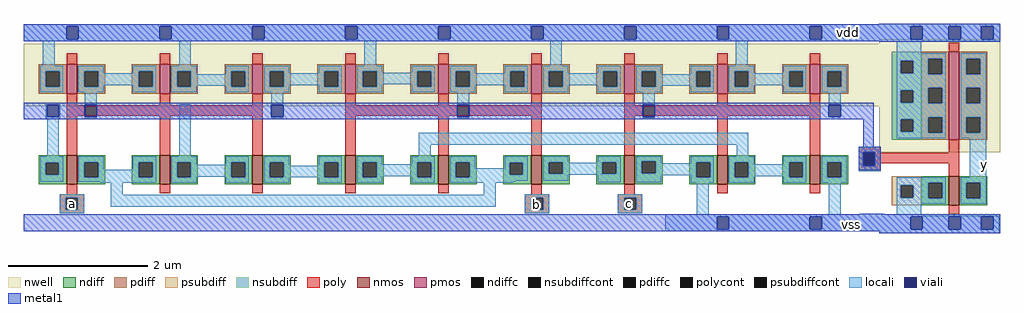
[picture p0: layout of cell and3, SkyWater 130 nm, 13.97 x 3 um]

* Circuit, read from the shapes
.subckt and3 a b c y vdd vss
XM1 n1 a inverter_0/a vss sky130_fd_pr__nfet_01v8 w=0.42 l=0.15
XM2 n2 a n1 vss sky130_fd_pr__nfet_01v8 w=0.42 l=0.15
XM3 n3 a n2 vss sky130_fd_pr__nfet_01v8 w=0.42 l=0.15
XM4 n4 b n3 vss sky130_fd_pr__nfet_01v8 w=0.42 l=0.15
XM5 n1 b n4 vss sky130_fd_pr__nfet_01v8 w=0.42 l=0.15
XM6 n5 b n1 vss sky130_fd_pr__nfet_01v8 w=0.42 l=0.15
XM7 vss c n5 vss sky130_fd_pr__nfet_01v8 w=0.42 l=0.15
XM8 n4 c vss vss sky130_fd_pr__nfet_01v8 w=0.42 l=0.15 m=2
XM9 y inverter_0/a vss vss sky130_fd_pr__nfet_01v8 w=0.42 l=0.15
XM10 inverter_0/a a vdd vdd sky130_fd_pr__pfet_01v8 w=0.42 l=0.15 m=3
XM11 vdd b inverter_0/a vdd sky130_fd_pr__pfet_01v8 w=0.42 l=0.15 m=3
XM12 inverter_0/a c vdd vdd sky130_fd_pr__pfet_01v8 w=0.42 l=0.15 m=3
XM13 y inverter_0/a vdd vdd sky130_fd_pr__pfet_01v8 w=1.26 l=0.15
.ends

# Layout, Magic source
magic
tech sky130A
<< nwell >>
rect -1075 137 157 226
<< nmos >>
rect -1014 25 -999 67
rect -881 25 -866 67
rect -748 25 -733 67
rect -615 25 -600 67
rect -482 25 -467 67
rect -349 25 -334 67
rect -216 25 -201 67
rect -83 25 -68 67
rect 50 25 65 67
<< pmos >>
rect -1014 155 -999 197
rect -881 155 -866 197
rect -748 155 -733 197
rect -615 155 -600 197
rect -482 155 -467 197
rect -349 155 -334 197
rect -216 155 -201 197
rect -83 155 -68 197
rect 50 155 65 197
<< ndiff >>
rect -1054 56 -1014 67
rect -1054 39 -1044 56
rect -1025 39 -1014 56
rect -1054 25 -1014 39
rect -999 57 -959 67
rect -999 35 -989 57
rect -969 35 -959 57
rect -999 25 -959 35
rect -921 57 -881 67
rect -921 35 -911 57
rect -891 35 -881 57
rect -921 25 -881 35
rect -866 57 -826 67
rect -866 35 -856 57
rect -836 35 -826 57
rect -866 25 -826 35
rect -788 57 -748 67
rect -788 35 -778 57
rect -758 35 -748 57
rect -788 25 -748 35
rect -733 57 -693 67
rect -733 35 -723 57
rect -703 35 -693 57
rect -733 25 -693 35
rect -655 57 -615 67
rect -655 35 -645 57
rect -625 35 -615 57
rect -655 25 -615 35
rect -600 57 -560 67
rect -600 35 -590 57
rect -570 35 -560 57
rect -600 25 -560 35
rect -522 57 -482 67
rect -522 35 -512 57
rect -492 35 -482 57
rect -522 25 -482 35
rect -467 57 -427 67
rect -467 35 -457 57
rect -437 35 -427 57
rect -467 25 -427 35
rect -389 56 -349 67
rect -389 39 -380 56
rect -361 39 -349 56
rect -389 25 -349 39
rect -334 57 -294 67
rect -334 40 -324 57
rect -304 40 -294 57
rect -334 25 -294 40
rect -256 57 -216 67
rect -256 40 -247 57
rect -227 40 -216 57
rect -256 25 -216 40
rect -201 58 -161 67
rect -201 41 -191 58
rect -171 41 -161 58
rect -201 25 -161 41
rect -123 57 -83 67
rect -123 35 -113 57
rect -93 35 -83 57
rect -123 25 -83 35
rect -68 57 -28 67
rect -68 35 -58 57
rect -38 35 -28 57
rect -68 25 -28 35
rect 10 57 50 67
rect 10 35 20 57
rect 40 35 50 57
rect 10 25 50 35
rect 65 57 105 67
rect 65 35 75 57
rect 95 35 105 57
rect 65 25 105 35
<< pdiff >>
rect -1054 187 -1014 197
rect -1054 165 -1044 187
rect -1024 165 -1014 187
rect -1054 155 -1014 165
rect -999 187 -959 197
rect -999 165 -989 187
rect -969 165 -959 187
rect -999 155 -959 165
rect -921 187 -881 197
rect -921 165 -911 187
rect -891 165 -881 187
rect -921 155 -881 165
rect -866 187 -826 197
rect -866 165 -856 187
rect -836 165 -826 187
rect -866 155 -826 165
rect -788 187 -748 197
rect -788 165 -778 187
rect -758 165 -748 187
rect -788 155 -748 165
rect -733 187 -693 197
rect -733 165 -723 187
rect -703 165 -693 187
rect -733 155 -693 165
rect -655 187 -615 197
rect -655 165 -645 187
rect -625 165 -615 187
rect -655 155 -615 165
rect -600 187 -560 197
rect -600 165 -590 187
rect -570 165 -560 187
rect -600 155 -560 165
rect -522 187 -482 197
rect -522 165 -512 187
rect -492 165 -482 187
rect -522 155 -482 165
rect -467 187 -427 197
rect -467 165 -457 187
rect -437 165 -427 187
rect -467 155 -427 165
rect -389 187 -349 197
rect -389 165 -379 187
rect -359 165 -349 187
rect -389 155 -349 165
rect -334 187 -294 197
rect -334 165 -324 187
rect -304 165 -294 187
rect -334 155 -294 165
rect -256 187 -216 197
rect -256 165 -246 187
rect -226 165 -216 187
rect -256 155 -216 165
rect -201 187 -161 197
rect -201 165 -191 187
rect -171 165 -161 187
rect -201 155 -161 165
rect -123 187 -83 197
rect -123 165 -113 187
rect -93 165 -83 187
rect -123 155 -83 165
rect -68 187 -28 197
rect -68 165 -58 187
rect -38 165 -28 187
rect -68 155 -28 165
rect 10 187 50 197
rect 10 165 20 187
rect 40 165 50 187
rect 10 155 50 165
rect 65 187 105 197
rect 65 165 75 187
rect 95 165 105 187
rect 65 155 105 165
<< ndiffc >>
rect -1044 39 -1025 56
rect -989 35 -969 57
rect -911 35 -891 57
rect -856 35 -836 57
rect -778 35 -758 57
rect -723 35 -703 57
rect -645 35 -625 57
rect -590 35 -570 57
rect -512 35 -492 57
rect -457 35 -437 57
rect -380 39 -361 56
rect -324 40 -304 57
rect -247 40 -227 57
rect -191 41 -171 58
rect -113 35 -93 57
rect -58 35 -38 57
rect 20 35 40 57
rect 75 35 95 57
<< pdiffc >>
rect -1044 165 -1024 187
rect -989 165 -969 187
rect -911 165 -891 187
rect -856 165 -836 187
rect -778 165 -758 187
rect -723 165 -703 187
rect -645 165 -625 187
rect -590 165 -570 187
rect -512 165 -492 187
rect -457 165 -437 187
rect -379 165 -359 187
rect -324 165 -304 187
rect -246 165 -226 187
rect -191 165 -171 187
rect -113 165 -93 187
rect -58 165 -38 187
rect 20 165 40 187
rect 75 165 95 187
<< poly >>
rect -1014 197 -999 213
rect -881 197 -866 213
rect -748 197 -733 213
rect -615 197 -600 213
rect -482 197 -467 213
rect -349 197 -334 213
rect -216 197 -201 213
rect -83 197 -68 213
rect 50 197 65 213
rect -1014 138 -999 155
rect -881 138 -866 155
rect -748 138 -733 155
rect -1014 123 -733 138
rect -1014 67 -999 123
rect -881 67 -866 123
rect -748 67 -733 123
rect -615 138 -600 155
rect -482 138 -467 155
rect -349 138 -334 155
rect -615 123 -334 138
rect -615 67 -600 123
rect -482 67 -467 123
rect -349 67 -334 123
rect -216 138 -201 155
rect -83 138 -68 155
rect 50 138 65 155
rect -216 123 65 138
rect -216 67 -201 123
rect -83 67 -68 123
rect 50 67 65 123
rect -1014 11 -999 25
rect -881 12 -866 25
rect -748 12 -733 25
rect -615 12 -600 25
rect -482 12 -467 25
rect -349 11 -334 25
rect -216 11 -201 25
rect -83 12 -68 25
rect 50 12 65 25
rect -1024 6 -989 11
rect -1024 -11 -1015 6
rect -998 -11 -989 6
rect -1024 -16 -989 -11
rect -358 6 -323 11
rect -358 -11 -349 6
rect -332 -11 -323 6
rect -358 -16 -323 -11
rect -225 6 -190 11
rect -225 -11 -216 6
rect -199 -11 -190 6
rect -225 -16 -190 -11
<< polycont >>
rect -1015 -11 -998 6
rect -349 -11 -332 6
rect -216 -11 -199 6
<< locali >>
rect -1075 251 151 254
rect -1075 233 -1014 251
rect -997 233 -881 251
rect -864 233 -748 251
rect -731 233 -615 251
rect -598 233 -482 251
rect -465 233 -349 251
rect -332 233 -216 251
rect -199 233 -83 251
rect -66 233 50 251
rect 67 233 151 251
rect -1075 230 151 233
rect -1048 195 -1031 230
rect -853 195 -836 230
rect -588 195 -571 230
rect -322 195 -305 230
rect -56 195 -39 230
rect -1052 187 -1019 195
rect -1052 165 -1044 187
rect -1024 165 -1019 187
rect -1052 157 -1019 165
rect -997 187 -961 195
rect -997 165 -989 187
rect -969 184 -961 187
rect -919 187 -886 195
rect -919 184 -911 187
rect -969 167 -911 184
rect -969 165 -961 167
rect -997 157 -961 165
rect -919 165 -911 167
rect -891 165 -886 187
rect -919 157 -886 165
rect -864 187 -828 195
rect -864 165 -856 187
rect -836 183 -828 187
rect -786 187 -753 195
rect -786 183 -778 187
rect -836 166 -778 183
rect -836 165 -828 166
rect -864 157 -828 165
rect -786 165 -778 166
rect -758 165 -753 187
rect -786 157 -753 165
rect -731 187 -695 195
rect -731 165 -723 187
rect -703 184 -695 187
rect -653 187 -620 195
rect -653 184 -645 187
rect -703 167 -645 184
rect -703 165 -695 167
rect -731 157 -695 165
rect -653 165 -645 167
rect -625 165 -620 187
rect -653 157 -620 165
rect -598 187 -562 195
rect -598 165 -590 187
rect -570 185 -562 187
rect -520 187 -487 195
rect -520 185 -512 187
rect -570 168 -512 185
rect -570 165 -562 168
rect -598 157 -562 165
rect -520 165 -512 168
rect -492 165 -487 187
rect -520 157 -487 165
rect -465 187 -429 195
rect -465 165 -457 187
rect -437 184 -429 187
rect -387 187 -354 195
rect -387 184 -379 187
rect -437 167 -379 184
rect -437 165 -429 167
rect -465 157 -429 165
rect -387 165 -379 167
rect -359 165 -354 187
rect -387 157 -354 165
rect -332 187 -296 195
rect -332 165 -324 187
rect -304 184 -296 187
rect -254 187 -221 195
rect -254 184 -246 187
rect -304 167 -246 184
rect -304 165 -296 167
rect -332 157 -296 165
rect -254 165 -246 167
rect -226 165 -221 187
rect -254 157 -221 165
rect -199 187 -163 195
rect -199 165 -191 187
rect -171 183 -163 187
rect -121 187 -88 195
rect -121 183 -113 187
rect -171 166 -113 183
rect -171 165 -163 166
rect -199 157 -163 165
rect -121 165 -113 166
rect -93 165 -88 187
rect -121 157 -88 165
rect -66 187 -30 195
rect -66 165 -58 187
rect -38 184 -30 187
rect 12 187 45 195
rect 12 184 20 187
rect -38 167 20 184
rect -38 165 -30 167
rect -66 157 -30 165
rect 12 165 20 167
rect 40 165 45 187
rect 12 157 45 165
rect 67 187 103 195
rect 67 165 75 187
rect 95 165 103 187
rect 67 157 103 165
rect -1044 139 -1023 140
rect -1044 122 -1042 139
rect -1025 122 -1023 139
rect -1044 120 -1023 122
rect -988 139 -971 157
rect -1042 65 -1025 120
rect -988 119 -971 122
rect -853 65 -836 140
rect -721 139 -704 157
rect -721 119 -704 122
rect -455 139 -438 157
rect -455 119 -438 122
rect -189 139 -172 157
rect -189 120 -172 122
rect 77 139 94 157
rect 77 121 94 122
rect -510 82 -38 99
rect -510 65 -493 82
rect -55 65 -38 82
rect -1052 56 -1019 65
rect -1052 39 -1044 56
rect -1025 39 -1019 56
rect -1052 29 -1019 39
rect -997 57 -961 65
rect -997 35 -989 57
rect -969 46 -961 57
rect -919 57 -886 65
rect -919 46 -911 57
rect -969 35 -911 46
rect -891 35 -886 57
rect -997 29 -886 35
rect -966 27 -886 29
rect -864 57 -828 65
rect -864 35 -856 57
rect -836 53 -828 57
rect -786 57 -753 65
rect -786 53 -778 57
rect -836 36 -778 53
rect -836 35 -828 36
rect -864 27 -828 35
rect -786 35 -778 36
rect -758 35 -753 57
rect -786 27 -753 35
rect -731 57 -695 65
rect -731 35 -723 57
rect -703 52 -695 57
rect -653 57 -620 65
rect -653 52 -645 57
rect -703 35 -645 52
rect -625 35 -620 57
rect -731 27 -695 35
rect -653 27 -620 35
rect -598 57 -562 65
rect -598 35 -590 57
rect -570 54 -562 57
rect -520 57 -487 65
rect -520 54 -512 57
rect -570 37 -512 54
rect -570 35 -562 37
rect -598 27 -562 35
rect -520 35 -512 37
rect -492 35 -487 57
rect -520 27 -487 35
rect -465 57 -429 65
rect -465 35 -457 57
rect -437 48 -429 57
rect -387 56 -354 65
rect -387 48 -380 56
rect -437 39 -380 48
rect -361 39 -354 56
rect -437 35 -354 39
rect -465 30 -354 35
rect -332 57 -296 65
rect -332 40 -324 57
rect -304 56 -296 57
rect -254 57 -221 65
rect -254 56 -247 57
rect -304 40 -247 56
rect -227 40 -221 57
rect -332 39 -221 40
rect -332 30 -296 39
rect -465 29 -371 30
rect -465 27 -375 29
rect -254 28 -221 39
rect -199 58 -163 65
rect -199 41 -191 58
rect -171 55 -163 58
rect -121 57 -88 65
rect -121 55 -113 57
rect -171 41 -113 55
rect -199 38 -113 41
rect -199 28 -163 38
rect -121 35 -113 38
rect -93 35 -88 57
rect -121 27 -88 35
rect -66 57 -30 65
rect -66 35 -58 57
rect -38 54 -30 57
rect 12 57 45 65
rect 12 54 20 57
rect -38 37 20 54
rect -38 35 -30 37
rect -66 27 -30 35
rect 12 35 20 37
rect 40 35 45 57
rect 12 27 45 35
rect 67 57 103 65
rect 67 35 75 57
rect 95 35 103 57
rect 280 44 301 63
rect 67 27 103 35
rect -1024 6 -989 11
rect -1024 -11 -1015 6
rect -998 -11 -989 6
rect -951 10 -934 27
rect -417 10 -400 27
rect -951 -7 -400 10
rect -358 6 -323 11
rect -1024 -16 -989 -11
rect -358 -11 -349 6
rect -332 -11 -323 6
rect -358 -16 -323 -11
rect -225 6 -190 11
rect -225 -11 -216 6
rect -199 -11 -190 6
rect -225 -16 -190 -11
rect -112 -18 -95 27
rect 77 -18 94 27
rect 121 -18 156 -17
rect -157 -21 156 -18
rect -157 -39 -83 -21
rect -66 -39 50 -21
rect 67 -39 156 -21
rect -157 -42 156 -39
<< viali >>
rect -1014 233 -997 251
rect -881 233 -864 251
rect -748 233 -731 251
rect -615 233 -598 251
rect -482 233 -465 251
rect -349 233 -332 251
rect -216 233 -199 251
rect -83 233 -66 251
rect 50 233 67 251
rect -1042 122 -1025 139
rect -988 122 -971 139
rect -721 122 -704 139
rect -455 122 -438 139
rect -189 122 -172 139
rect 77 122 94 139
rect 126 52 143 71
rect -83 -39 -66 -21
rect 50 -39 67 -21
<< metal1 >>
rect -1075 251 151 254
rect -1075 233 -1014 251
rect -997 233 -881 251
rect -864 233 -748 251
rect -731 233 -615 251
rect -598 233 -482 251
rect -465 233 -349 251
rect -332 233 -216 251
rect -199 233 -83 251
rect -66 233 50 251
rect 67 233 151 251
rect -1075 230 151 233
rect -1075 139 141 142
rect -1075 122 -1042 139
rect -1025 122 -988 139
rect -971 122 -721 139
rect -704 122 -455 139
rect -438 122 -189 139
rect -172 122 77 139
rect 94 122 141 139
rect -1075 118 141 122
rect 126 79 141 118
rect 120 71 151 79
rect 120 52 126 71
rect 143 52 151 71
rect 120 45 151 52
rect 121 -18 156 -17
rect -1075 -21 156 -18
rect -1075 -39 -83 -21
rect -66 -39 50 -21
rect 67 -39 156 -21
rect -1075 -42 156 -39
use inverter  inverter_0
transform 1 0 249 0 1 -5
box -129 -40 73 260
<< labels >>
rlabel metal1 109 -32 109 -32 1 vss
port 6 n
rlabel metal1 105 242 105 242 1 vdd
port 5 n
rlabel polycont -208 -3 -208 -3 1 c
port 3 n
rlabel polycont -341 -4 -341 -4 1 b
port 2 n
rlabel polycont -1006 -3 -1006 -3 1 a
port 1 n
rlabel locali 300 53 300 53 3 y
port 4 e
<< end >>

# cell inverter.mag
magic
tech sky130A
<< nwell >>
rect -100 76 73 238
<< nmos >>
rect 0 0 15 42
<< pmos >>
rect 0 94 15 220
<< ndiff >>
rect -40 32 0 42
rect -40 10 -30 32
rect -10 10 0 32
rect -40 0 0 10
rect 15 32 55 42
rect 15 10 25 32
rect 45 10 55 32
rect 15 0 55 10
<< pdiff >>
rect -40 210 0 220
rect -40 188 -30 210
rect -10 188 0 210
rect -40 168 0 188
rect -40 146 -30 168
rect -10 146 0 168
rect -40 126 0 146
rect -40 104 -30 126
rect -10 104 0 126
rect -40 94 0 104
rect 15 210 55 220
rect 15 188 25 210
rect 45 188 55 210
rect 15 168 55 188
rect 15 146 25 168
rect 45 146 55 168
rect 15 126 55 146
rect 15 104 25 126
rect 45 104 55 126
rect 15 94 55 104
<< ndiffc >>
rect -30 10 -10 32
rect 25 10 45 32
<< pdiffc >>
rect -30 188 -10 210
rect -30 146 -10 168
rect -30 104 -10 126
rect 25 188 45 210
rect 25 146 45 168
rect 25 104 45 126
<< psubdiff >>
rect -82 29 -40 42
rect -82 11 -69 29
rect -51 11 -40 29
rect -82 0 -40 11
<< nsubdiff >>
rect -82 207 -40 220
rect -82 189 -69 207
rect -51 189 -40 207
rect -82 165 -40 189
rect -82 147 -69 165
rect -51 147 -40 165
rect -82 123 -40 147
rect -82 105 -69 123
rect -51 105 -40 123
rect -82 94 -40 105
<< psubdiffcont >>
rect -69 11 -51 29
<< nsubdiffcont >>
rect -69 189 -51 207
rect -69 147 -51 165
rect -69 105 -51 123
<< poly >>
rect 0 220 15 233
rect -129 76 -98 84
rect -129 57 -123 76
rect -106 75 -98 76
rect 0 75 15 94
rect -106 60 15 75
rect -106 57 -98 60
rect -129 49 -98 57
rect 0 42 15 60
rect 0 -13 15 0
<< polycont >>
rect -123 57 -106 76
<< locali >>
rect -100 256 73 260
rect -100 238 -55 256
rect -38 238 0 256
rect 17 238 46 256
rect 63 238 73 256
rect -100 235 73 238
rect -100 234 -40 235
rect -75 218 -40 234
rect -75 210 -5 218
rect -75 207 -30 210
rect -75 189 -69 207
rect -51 189 -30 207
rect -75 188 -30 189
rect -10 188 -5 210
rect -75 168 -5 188
rect -75 165 -30 168
rect -75 147 -69 165
rect -51 147 -30 165
rect -75 146 -30 147
rect -10 146 -5 168
rect -75 126 -5 146
rect -75 123 -30 126
rect -75 105 -69 123
rect -51 105 -30 123
rect -75 104 -30 105
rect -10 104 -5 126
rect -75 96 -5 104
rect 17 210 53 218
rect 17 188 25 210
rect 45 188 53 210
rect 17 168 53 188
rect 17 146 25 168
rect 45 146 53 168
rect 17 126 53 146
rect 17 104 25 126
rect 45 104 53 126
rect 17 96 53 104
rect -129 76 -98 84
rect -129 57 -123 76
rect -106 57 -98 76
rect -129 49 -98 57
rect 30 40 53 96
rect -75 32 -5 40
rect -75 29 -30 32
rect -75 11 -69 29
rect -51 11 -30 29
rect -75 10 -30 11
rect -10 10 -5 32
rect -75 2 -5 10
rect 17 32 53 40
rect 17 10 25 32
rect 45 10 53 32
rect 17 2 53 10
rect -75 -13 -40 2
rect -100 -15 -40 -13
rect -100 -16 72 -15
rect -100 -34 -55 -16
rect -38 -34 0 -16
rect 17 -34 46 -16
rect 63 -34 72 -16
rect -100 -40 72 -34
<< viali >>
rect -55 238 -38 256
rect 0 238 17 256
rect 46 238 63 256
rect -55 -34 -38 -16
rect 0 -34 17 -16
rect 46 -34 63 -16
<< metal1 >>
rect -100 256 73 260
rect -100 238 -55 256
rect -38 238 0 256
rect 17 238 46 256
rect 63 238 73 256
rect -100 234 73 238
rect -100 -16 73 -13
rect -100 -34 -55 -16
rect -38 -34 0 -16
rect 17 -34 46 -16
rect 63 -34 73 -16
rect -100 -40 73 -34
<< labels >>
rlabel metal1 -100 247 -100 247 1 vdd
port 2 n
rlabel metal1 -100 -26 -100 -26 1 vss
port 1 n
rlabel locali -123 67 -123 67 1 a
port 3 n
rlabel locali 53 68 53 68 1 y
port 4 n
<< end >>
